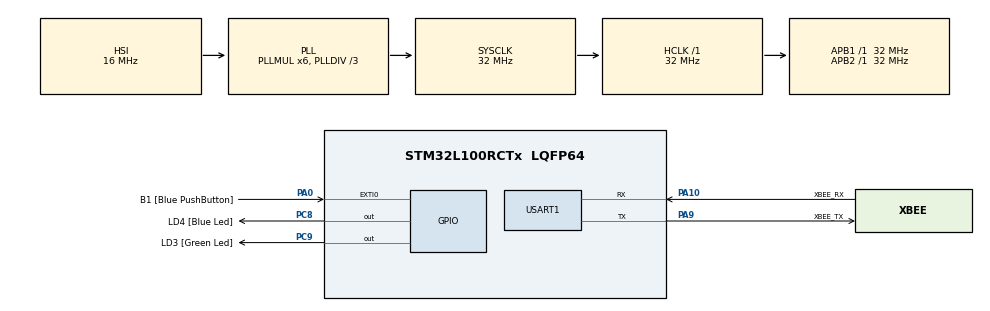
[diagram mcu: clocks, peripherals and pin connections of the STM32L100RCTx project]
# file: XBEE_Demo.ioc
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Mcu.Family=STM32L1
Mcu.Name=STM32L100RCTx
Mcu.Package=LQFP64
NVIC.PriorityGroup=NVIC_PRIORITYGROUP_0
PA0-WKUP1.GPIO_Label=B1 [Blue PushButton]
PA0-WKUP1.GPIO_ModeDefaultEXTI=GPIO_MODE_EVT_RISING
PA0-WKUP1.Signal=GPXTI0
PA10.GPIO_Label=XBEE_RX
PA10.Mode=Asynchronous
PA10.Signal=USART1_RX
PA13.GPIO_Label=SWDIO
PA13.Mode=Serial_Wire
PA13.Signal=SYS_JTMS-SWDIO
PA14.GPIO_Label=SWCLK
PA14.Mode=Serial_Wire
PA14.Signal=SYS_JTCK-SWCLK
PA9.GPIO_Label=XBEE_TX
PA9.Mode=Asynchronous
PA9.Signal=USART1_TX
PB3.GPIO_Label=SWO
PB3.Signal=SYS_JTDO-TRACESWO
PC14-OSC32_IN.GPIO_Label=PC14-OSC32_IN
PC14-OSC32_IN.Signal=RCC_OSC32_IN
PC15-OSC32_OUT.GPIO_Label=PC15-OSC32_OUT
PC15-OSC32_OUT.Signal=RCC_OSC32_OUT
PC8.GPIO_Label=LD4 [Blue Led]
PC8.Signal=GPIO_Output
PC9.GPIO_Label=LD3 [Green Led]
PC9.Signal=GPIO_Output
PH0-OSC_IN.GPIO_Label=PH0-OSC_IN
PH0-OSC_IN.Mode=HSE-External-Oscillator
PH0-OSC_IN.Signal=RCC_OSC_IN
PH1-OSC_OUT.GPIO_Label=PH1-OSC_OUT
PH1-OSC_OUT.Mode=HSE-External-Oscillator
PH1-OSC_OUT.Signal=RCC_OSC_OUT
ProjectManager.HeapSize=0x200
ProjectManager.StackSize=0x400
ProjectManager.TargetToolchain=SW4STM32
RCC.AHBFreq_Value=32000000
RCC.APB1Freq_Value=32000000
RCC.APB1TimFreq_Value=32000000
RCC.APB2Freq_Value=32000000
RCC.APB2TimFreq_Value=32000000
RCC.HCLKFreq_Value=32000000
RCC.HSE_VALUE=8000000
RCC.HSI_VALUE=16000000
RCC.LSEState=RCC_LSE_ON
RCC.MSI_VALUE=2097000
RCC.PLLDIV=RCC_PLL_DIV3
RCC.PLLMUL=RCC_PLL_MUL6
RCC.RCC_RTC_Clock_Source_FROM_HSE=RCC_RTCCLKSOURCE_HSE_DIV16
RCC.RTCClockSelection=RCC_RTCCLKSOURCE_LSI
RCC.RTCClockSelectionVirtual=RCC_RTCCLKSOURCE_LSE
RCC.SYSCLKFreq_VALUE=32000000
RCC.SYSCLKSource=RCC_SYSCLKSOURCE_PLLCLK
RCC.USBOutput=48000000
RCC.VCOOutputFreq_Value=96000000
RTC.Format=RTC_FORMAT_BIN
USART1.VirtualMode=VM_ASYNC
VP_RTC_VS_RTC_Activate.Mode=RTC_Enabled
VP_RTC_VS_RTC_Calendar.Mode=RTC_Calendar
board=STM32L100C-DISCO

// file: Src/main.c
/**
 ******************************************************************************
 * File Name          : main.c
 * Description        : Main program body
 ******************************************************************************
 ** This notice applies to any and all portions of this file
 * that are not between comment pairs USER CODE BEGIN and
 * USER CODE END. Other portions of this file, whether
 * inserted by the user or by software development tools
 * are owned by their respective copyright owners.
 *
 * COPYRIGHT(c) 2017 STMicroelectronics
 *
 * Redistribution and use in source and binary forms, with or without modification,
 * are permitted provided that the following conditions are met:
 *   1. Redistributions of source code must retain the above copyright notice,
 *      this list of conditions and the following disclaimer.
 *   2. Redistributions in binary form must reproduce the above copyright notice,
 *      this list of conditions and the following disclaimer in the documentation
 *      and/or other materials provided with the distribution.
 *   3. Neither the name of STMicroelectronics nor the names of its contributors
 *      may be used to endorse or promote products derived from this software
 *      without specific prior written permission.
 *
 * THIS SOFTWARE IS PROVIDED BY THE COPYRIGHT HOLDERS AND CONTRIBUTORS "AS IS"
 * AND ANY EXPRESS OR IMPLIED WARRANTIES, INCLUDING, BUT NOT LIMITED TO, THE
 * IMPLIED WARRANTIES OF MERCHANTABILITY AND FITNESS FOR A PARTICULAR PURPOSE ARE
 * DISCLAIMED. IN NO EVENT SHALL THE COPYRIGHT HOLDER OR CONTRIBUTORS BE LIABLE
 * FOR ANY DIRECT, INDIRECT, INCIDENTAL, SPECIAL, EXEMPLARY, OR CONSEQUENTIAL
 * DAMAGES (INCLUDING, BUT NOT LIMITED TO, PROCUREMENT OF SUBSTITUTE GOODS OR
 * SERVICES; LOSS OF USE, DATA, OR PROFITS; OR BUSINESS INTERRUPTION) HOWEVER
 * CAUSED AND ON ANY THEORY OF LIABILITY, WHETHER IN CONTRACT, STRICT LIABILITY,
 * OR TORT (INCLUDING NEGLIGENCE OR OTHERWISE) ARISING IN ANY WAY OUT OF THE USE
 * OF THIS SOFTWARE, EVEN IF ADVISED OF THE POSSIBILITY OF SUCH DAMAGE.
 *
 ******************************************************************************
 */
#include "main.h"

/* USER CODE BEGIN Includes */
#include "stm32l1xx_hal.h"
#include <stm32l1xx_hal_uart.h>

/* USER CODE END Includes */

RTC_HandleTypeDef hrtc;
//typedef uint64_t XBeeAddress64;
UART_HandleTypeDef huart1;

/* USER CODE BEGIN PV */
/* Private variables ---------------------------------------------------------*/

/* USER CODE END PV */

void SystemClock_Config(void);
static void MX_GPIO_Init(void);
static void MX_USART1_UART_Init(void);
static void MX_RTC_Init(void);
void printTime(void);

/* USER CODE BEGIN PFP */
/* Private function prototypes -----------------------------------------------*/

/* USER CODE END PFP */

/* USER CODE BEGIN 0 */
extern void initialise_monitor_handles(void);
void ZBTxMakeHeader(ZBTxHeader h, char buffer[16]);
void ZBTxMakePayload(ZBTxPayload p, char* buffer);
uint8_t GenerateChecksum(char* buff,int size );
/* USER CODE END 0 */

int main(void) {

	/* MCU Configuration----------------------------------------------------------*/

	/* Reset of all peripherals, Initializes the Flash interface and the Systick. */
	HAL_Init();

	/* Configure the system clock */
	SystemClock_Config();

	/* USER CODE BEGIN SysInit */
	initialise_monitor_handles();
	/* USER CODE END SysInit */

	/* Initialize all configured peripherals */
	MX_GPIO_Init();
	MX_USART1_UART_Init();
	MX_RTC_Init();
	char mymsg[13] = "To mwraki !!!";
	uint8_t headBbuffer[TX_FRAME_LENGTH + sizeof(mymsg)+1];

	ZBTxHeader h;
	h.startByte = START_BYTE;
	h.length = ((TX_FRAME_LENGTH - 4)+sizeof(mymsg)+1);
	h.frameType = 0x10;
	h.frameID = 0x01;
	h.address = 0x0000000000000000;;
	h.destinationNetworkAddr = 0xFFFE;
	h.broadcastRadius = 0x00;
	h.otpions = 0x00;

	ZBTxPayload p;
	p.payloadSize = sizeof(mymsg);
	p.payload = malloc(strlen(mymsg)+1);
	strcpy (p.payload, mymsg);

	//char payBuff[8];
	ZBTxMakeHeader(h, headBbuffer + 0);
	ZBTxMakePayload(p, headBbuffer + TX_FRAME_LENGTH);

	volatile uint8_t checksum =  GenerateChecksum(headBbuffer, sizeof(headBbuffer));

	//memcpy(headBbuffer + TX_FRAME_LENGTH + sizeof(mymsg), checksum, 1);
	headBbuffer[TX_FRAME_LENGTH + sizeof(mymsg)] = checksum;

	//printf ("headBbuffer contains: %i\n", headBbuffer);
	printf("%i", checksum);

	//char aMESSAGE[8] = "WHATEVER";

	while (1) {

		HAL_UART_Transmit(&huart1, headBbuffer, sizeof(headBbuffer), 10000);
		//printTime();
		HAL_Delay(5000);
	}
}

void printTime() {
	RTC_TimeTypeDef currentTime;
	RTC_DateTypeDef currentDate;
	HAL_RTC_WaitForSynchro(&hrtc);
	HAL_RTC_GetTime(&hrtc, &currentTime, FORMAT_BIN);
	HAL_RTC_GetDate(&hrtc, &currentDate, FORMAT_BIN);

	char uartMsg[32] = "Time: ";
	char time[16] = { 0 };
	sprintf(time, "%d:%d:%d %d\n", currentTime.Hours, currentTime.Minutes,
			currentTime.Seconds, currentTime.SubSeconds);
	strcat(uartMsg, time);
	printf(uartMsg);
}
/** System Clock Configuration
 */
void SystemClock_Config(void) {

	RCC_OscInitTypeDef RCC_OscInitStruct;
	RCC_ClkInitTypeDef RCC_ClkInitStruct;
	RCC_PeriphCLKInitTypeDef PeriphClkInit;

	/**Configure the main internal regulator output voltage
	 */
	__HAL_PWR_VOLTAGESCALING_CONFIG(PWR_REGULATOR_VOLTAGE_SCALE1);

	/**Initializes the CPU, AHB and APB busses clocks
	 */
	RCC_OscInitStruct.OscillatorType = RCC_OSCILLATORTYPE_HSI
			| RCC_OSCILLATORTYPE_LSI;
	RCC_OscInitStruct.HSIState = RCC_HSI_ON;
	RCC_OscInitStruct.HSICalibrationValue = 16;
	RCC_OscInitStruct.LSIState = RCC_LSI_ON;
	RCC_OscInitStruct.PLL.PLLState = RCC_PLL_ON;
	RCC_OscInitStruct.PLL.PLLSource = RCC_PLLSOURCE_HSI;
	RCC_OscInitStruct.PLL.PLLMUL = RCC_PLL_MUL6;
	RCC_OscInitStruct.PLL.PLLDIV = RCC_PLL_DIV3;
	if (HAL_RCC_OscConfig(&RCC_OscInitStruct) != HAL_OK) {
		_Error_Handler(__FILE__, __LINE__);
	}

	/**Initializes the CPU, AHB and APB busses clocks
	 */
	RCC_ClkInitStruct.ClockType = RCC_CLOCKTYPE_HCLK | RCC_CLOCKTYPE_SYSCLK
			| RCC_CLOCKTYPE_PCLK1 | RCC_CLOCKTYPE_PCLK2;
	RCC_ClkInitStruct.SYSCLKSource = RCC_SYSCLKSOURCE_PLLCLK;
	RCC_ClkInitStruct.AHBCLKDivider = RCC_SYSCLK_DIV1;
	RCC_ClkInitStruct.APB1CLKDivider = RCC_HCLK_DIV1;
	RCC_ClkInitStruct.APB2CLKDivider = RCC_HCLK_DIV1;

	if (HAL_RCC_ClockConfig(&RCC_ClkInitStruct, FLASH_LATENCY_1) != HAL_OK) {
		_Error_Handler(__FILE__, __LINE__);
	}

	PeriphClkInit.PeriphClockSelection = RCC_PERIPHCLK_RTC;
	PeriphClkInit.RTCClockSelection = RCC_RTCCLKSOURCE_LSI;
	if (HAL_RCCEx_PeriphCLKConfig(&PeriphClkInit) != HAL_OK) {
		_Error_Handler(__FILE__, __LINE__);
	}

	/**Configure the Systick interrupt time
	 */
	HAL_SYSTICK_Config(HAL_RCC_GetHCLKFreq() / 1000);

	/**Configure the Systick
	 */
	HAL_SYSTICK_CLKSourceConfig(SYSTICK_CLKSOURCE_HCLK);

	/* SysTick_IRQn interrupt configuration */
	HAL_NVIC_SetPriority(SysTick_IRQn, 0, 0);
}

/* RTC init function */
static void MX_RTC_Init(void) {

	RTC_TimeTypeDef sTime;
	RTC_DateTypeDef sDate;

	/**Initialize RTC Only
	 */
	hrtc.Instance = RTC;
	hrtc.Init.HourFormat = RTC_HOURFORMAT_24;
	hrtc.Init.AsynchPrediv = 127;
	hrtc.Init.SynchPrediv = 255;
	hrtc.Init.OutPut = RTC_OUTPUT_DISABLE;
	hrtc.Init.OutPutPolarity = RTC_OUTPUT_POLARITY_HIGH;
	hrtc.Init.OutPutType = RTC_OUTPUT_TYPE_OPENDRAIN;
	if (HAL_RTC_Init(&hrtc) != HAL_OK) {
		_Error_Handler(__FILE__, __LINE__);
	}

	/**Initialize RTC and set the Time and Date
	 */
	if (HAL_RTCEx_BKUPRead(&hrtc, RTC_BKP_DR0) != 0x32F2) {
		sTime.Hours = 0;
		sTime.Minutes = 0;
		sTime.Seconds = 0;
		sTime.TimeFormat = RTC_HOURFORMAT_24;
		sTime.DayLightSaving = RTC_DAYLIGHTSAVING_NONE;
		sTime.StoreOperation = RTC_STOREOPERATION_RESET;
		if (HAL_RTC_SetTime(&hrtc, &sTime, RTC_FORMAT_BIN) != HAL_OK) {
			_Error_Handler(__FILE__, __LINE__);
		}

		sDate.WeekDay = RTC_WEEKDAY_MONDAY;
		sDate.Month = RTC_MONTH_JANUARY;
		sDate.Date = 1;
		sDate.Year = 0;

		if (HAL_RTC_SetDate(&hrtc, &sDate, RTC_FORMAT_BIN) != HAL_OK) {
			_Error_Handler(__FILE__, __LINE__);
		}

		HAL_RTCEx_BKUPWrite(&hrtc, RTC_BKP_DR0, 0x32F2);
	}

}

/* USART1 init function */
static void MX_USART1_UART_Init(void) {
	huart1.Instance = USART1;
	huart1.Init.BaudRate = 9600;
	huart1.Init.WordLength = UART_WORDLENGTH_8B;
	huart1.Init.StopBits = UART_STOPBITS_1;
	huart1.Init.Parity = UART_PARITY_NONE;
	huart1.Init.Mode = UART_MODE_TX_RX;
	huart1.Init.HwFlowCtl = UART_HWCONTROL_NONE;
	huart1.Init.OverSampling = UART_OVERSAMPLING_16;
	if (HAL_UART_Init(&huart1) != HAL_OK) {
		_Error_Handler(__FILE__, __LINE__);
	}

}

/** Configure pins as
 * Analog
 * Input
 * Output
 * EVENT_OUT
 * EXTI
 */
static void MX_GPIO_Init(void) {

	GPIO_InitTypeDef GPIO_InitStruct;

	/* GPIO Ports Clock Enable */
	__HAL_RCC_GPIOC_CLK_ENABLE()
	;
	__HAL_RCC_GPIOH_CLK_ENABLE()
	;
	__HAL_RCC_GPIOA_CLK_ENABLE()
	;
	__HAL_RCC_GPIOB_CLK_ENABLE()
	;

	/*Configure GPIO pin Output Level */
	HAL_GPIO_WritePin(GPIOC, LD4_Pin | LD3_Pin, GPIO_PIN_RESET);

	/*Configure GPIO pin : B1_Pin */
	GPIO_InitStruct.Pin = B1_Pin;
	GPIO_InitStruct.Mode = GPIO_MODE_EVT_RISING;
	GPIO_InitStruct.Pull = GPIO_NOPULL;
	HAL_GPIO_Init(B1_GPIO_Port, &GPIO_InitStruct);

	/*Configure GPIO pins : LD4_Pin LD3_Pin */
	GPIO_InitStruct.Pin = LD4_Pin | LD3_Pin;
	GPIO_InitStruct.Mode = GPIO_MODE_OUTPUT_PP;
	GPIO_InitStruct.Pull = GPIO_NOPULL;
	GPIO_InitStruct.Speed = GPIO_SPEED_FREQ_LOW;
	HAL_GPIO_Init(GPIOC, &GPIO_InitStruct);

}

/* USER CODE BEGIN 4 */

void ZBTxMakeHeader(ZBTxHeader h, char buffer[17]) {
	uint8_t u8 = 0;
	uint16_t u16 = 0;
	uint64_t u64 = 0;

	//start byte
	u8 = h.startByte;
	memcpy(buffer + 0, &u8, 1);
	//Length bytes
	u16 = __REV16(h.length);
	memcpy(buffer + 1, &u16, 2);
	//Frame type
	u8 = h.frameType;
	memcpy(buffer + 3, &u8, 1);
	//Frame ID
	u8 = h.frameID;
	memcpy(buffer + 4, &u8, 1);
	//64-bit Destination Address
	u64 = htonll(h.address);
	memcpy(buffer + 5, &u64, 8);
	//16-bit Destination Network Address
	u16 = __REV16(h.destinationNetworkAddr);
	memcpy(buffer + 13, &u16, 2);
	//Broadcast radius
	u8 = h.broadcastRadius;
	memcpy(buffer + 15, &u8, 1);
	//Options
	u8 = h.otpions;
	memcpy(buffer + 16, &u8, 1);
}

void ZBTxMakePayload(ZBTxPayload p, char* buffer) {
	memcpy(buffer+0,p.payload,p.payloadSize);
}

uint8_t ZBTxRequest(XBeeAddress64 addr64, uint8_t *payload,
		uint8_t payloadLength) {

	char buffer[TX_FRAME_LENGTH + payloadLength + 1];

	ZBTxHeader h;
	h.startByte = START_BYTE;
	h.length = (TX_FRAME_LENGTH - 3) + payloadLength;
	h.frameType = 0x10;
	h.frameID = 0x01;
	h.address = addr64;
	h.destinationNetworkAddr = 0xFFFE;
	h.broadcastRadius = 0x00;
	h.otpions = 0x00;

	ZBTxPayload p;
	p.payloadSize = payloadLength;
	p.payload = (uint8_t*) malloc(sizeof(uint8_t) * p.payloadSize);
	p.payload = payload;

	ZBTxMakeHeader(h, buffer + 0);
	//ZBTxMakePayload(p, buffer + TX_FRAME_LENGTH, payloadLength);

	return buffer;
}

uint8_t GenerateChecksum(char* buff,int size ) {
	uint8_t value = 0;
	for(int i = 3; i < size; i++){
		volatile uint8_t temp = buff[i];
		value += buff[i];
	}
	value = 0xFF - value;
	return value + 1;
}

uint64_t htonll(uint64_t value) {
	// The answer is 42
	static const int num = 42;

	// Check the endianness
	if (*(char *) &num == 42) {
		const uint32_t high_part = __REV((uint32_t) (value >> 32));
		const uint32_t low_part = __REV((uint32_t) (value & 0xFFFFFFFFLL));

		return ((uint64_t) (low_part) << 32) | high_part;
	} else {
		return value;
	}
}

/* USER CODE END 4 */

void _Error_Handler(char * file, int line) {
	while (1) {
	}
}

/************************ (C) COPYRIGHT STMicroelectronics *****END OF FILE****/
